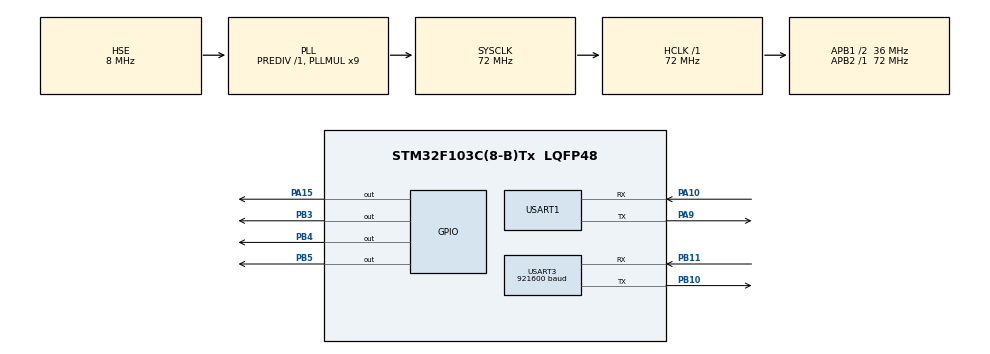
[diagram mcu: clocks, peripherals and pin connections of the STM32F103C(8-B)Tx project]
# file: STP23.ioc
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Mcu.Family=STM32F1
Mcu.Name=STM32F103C(8-B)Tx
Mcu.Package=LQFP48
NVIC.PriorityGroup=NVIC_PRIORITYGROUP_2
NVIC.USART3_IRQn=true\:0\:0\:false\:false\:true\:true\:true\:true
PA10.Mode=Asynchronous
PA10.Signal=USART1_RX
PA13.Mode=Serial_Wire
PA13.Signal=SYS_JTMS-SWDIO
PA14.Mode=Serial_Wire
PA14.Signal=SYS_JTCK-SWCLK
PA15.Signal=GPIO_Output
PA9.Mode=Asynchronous
PA9.Signal=USART1_TX
PB10.Mode=Asynchronous
PB10.Signal=USART3_TX
PB11.Mode=Asynchronous
PB11.Signal=USART3_RX
PB3.Signal=GPIO_Output
PB4.Signal=GPIO_Output
PB5.Signal=GPIO_Output
PD0-OSC_IN.Mode=HSE-External-Oscillator
PD0-OSC_IN.Signal=RCC_OSC_IN
PD1-OSC_OUT.Mode=HSE-External-Oscillator
PD1-OSC_OUT.Signal=RCC_OSC_OUT
ProjectManager.HeapSize=0x200
ProjectManager.StackSize=0x400
ProjectManager.TargetToolchain=MDK-ARM V5.32
RCC.AHBFreq_Value=72000000
RCC.APB1CLKDivider=RCC_HCLK_DIV2
RCC.APB1Freq_Value=36000000
RCC.APB1TimFreq_Value=72000000
RCC.APB2Freq_Value=72000000
RCC.APB2TimFreq_Value=72000000
RCC.HCLKFreq_Value=72000000
RCC.PLLMUL=RCC_PLL_MUL9
RCC.PLLSourceVirtual=RCC_PLLSOURCE_HSE
RCC.SYSCLKFreq_VALUE=72000000
RCC.SYSCLKSource=RCC_SYSCLKSOURCE_PLLCLK
RCC.USBFreq_Value=72000000
USART1.VirtualMode=VM_ASYNC
USART3.BaudRate=921600
USART3.VirtualMode=VM_ASYNC
board=custom

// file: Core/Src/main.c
/* USER CODE BEGIN Header */
/**
  ******************************************************************************
  * @file           : main.c
  * @brief          : Main program body
  ******************************************************************************
  * @attention
  *
  * Copyright (c) 2025 STMicroelectronics.
  * All rights reserved.
  *
  * This software is licensed under terms that can be found in the LICENSE file
  * in the root directory of this software component.
  * If no LICENSE file comes with this software, it is provided AS-IS.
  *
  ******************************************************************************
  */
/* USER CODE END Header */
#include "main.h"
#include "usart.h"
#include "gpio.h"

/* USER CODE BEGIN Includes */
#include "oled.h"
/* USER CODE END Includes */

void SystemClock_Config(void);

/* USER CODE BEGIN 0 */
void SystemClock_Config(void);
void errorLog(int num);
void parseGpsBuffer(void);
void printGpsBuffer(void);
void JTAG_Set(u8 mode)
{
	u32 temp;
	temp=mode;
	temp<<=25;
	RCC->APB2ENR|=1<<0;     //        ?
	AFIO->MAPR&=0XF8FFFFFF; //   MAPR  [26:24]
	AFIO->MAPR|=temp;       //    jtag??
}
u16 receive_cnt;//    ?         ?
u8 confidence;
u16 distance,noise,reftof;
u32 peak,intg;
u8 dis;
/* USER CODE END 0 */

int main(void)
{

  /* MCU Configuration--------------------------------------------------------*/

  /* Reset of all peripherals, Initializes the Flash interface and the Systick. */
  HAL_Init();

  /* Configure the system clock */
  SystemClock_Config();

  /* Initialize all configured peripherals */
  MX_GPIO_Init();
  MX_USART1_UART_Init();
  MX_USART3_UART_Init();
  /* USER CODE BEGIN 2 */
  	OLED_Init();
    printf("Welcome to use!\r\n");
  /* USER CODE END 2 */

  /* Infinite loop */
  while (1)
  {

    /* USER CODE BEGIN 3 */
	  printf("成功接收%d次\n\r",receive_cnt);
		printf("距离是%dmm\n\r",distance);
		HAL_Delay(10);
		//oled  ?
		OLED_ShowString(0,20,"Distance:");	//  ?
		OLED_ShowString(110,20,"mm"),
		OLED_ShowNumber(68,20,distance,5,12);//  ?   ??
		OLED_Refresh_Gram();
		HAL_Delay(10);
  }
  /* USER CODE END 3 */
}

void SystemClock_Config(void)
{
  RCC_OscInitTypeDef RCC_OscInitStruct = {0};
  RCC_ClkInitTypeDef RCC_ClkInitStruct = {0};

  /** Initializes the RCC Oscillators according to the specified parameters
  * in the RCC_OscInitTypeDef structure.
  */
  RCC_OscInitStruct.OscillatorType = RCC_OSCILLATORTYPE_HSE;
  RCC_OscInitStruct.HSEState = RCC_HSE_ON;
  RCC_OscInitStruct.HSEPredivValue = RCC_HSE_PREDIV_DIV1;
  RCC_OscInitStruct.HSIState = RCC_HSI_ON;
  RCC_OscInitStruct.PLL.PLLState = RCC_PLL_ON;
  RCC_OscInitStruct.PLL.PLLSource = RCC_PLLSOURCE_HSE;
  RCC_OscInitStruct.PLL.PLLMUL = RCC_PLL_MUL9;
  if (HAL_RCC_OscConfig(&RCC_OscInitStruct) != HAL_OK)
  {
    Error_Handler();
  }

  /** Initializes the CPU, AHB and APB buses clocks
  */
  RCC_ClkInitStruct.ClockType = RCC_CLOCKTYPE_HCLK|RCC_CLOCKTYPE_SYSCLK
                              |RCC_CLOCKTYPE_PCLK1|RCC_CLOCKTYPE_PCLK2;
  RCC_ClkInitStruct.SYSCLKSource = RCC_SYSCLKSOURCE_PLLCLK;
  RCC_ClkInitStruct.AHBCLKDivider = RCC_SYSCLK_DIV1;
  RCC_ClkInitStruct.APB1CLKDivider = RCC_HCLK_DIV2;
  RCC_ClkInitStruct.APB2CLKDivider = RCC_HCLK_DIV1;

  if (HAL_RCC_ClockConfig(&RCC_ClkInitStruct, FLASH_LATENCY_2) != HAL_OK)
  {
    Error_Handler();
  }
}

/* USER CODE BEGIN 4 */
void errorLog(int num)
{

	while (1)
	{
	  	printf("ERROR%d\r\n",num);
	}
}
/* USER CODE END 4 */

void Error_Handler(void)
{
  __disable_irq();
  while (1)
  {
  }
}
